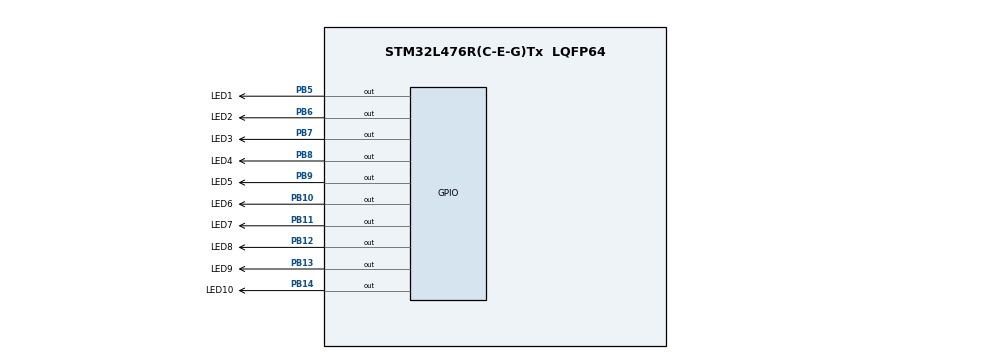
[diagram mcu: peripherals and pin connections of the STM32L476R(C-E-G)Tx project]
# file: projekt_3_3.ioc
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Mcu.Family=STM32L4
Mcu.Name=STM32L476R(C-E-G)Tx
Mcu.Package=LQFP64
NVIC.PriorityGroup=NVIC_PRIORITYGROUP_4
PB10.GPIO_Label=LED6
PB10.Signal=GPIO_Output
PB11.GPIO_Label=LED7
PB11.Signal=GPIO_Output
PB12.GPIO_Label=LED8
PB12.Signal=GPIO_Output
PB13.GPIO_Label=LED9
PB13.Signal=GPIO_Output
PB14.GPIO_Label=LED10
PB14.Signal=GPIO_Output
PB5.GPIO_Label=LED1
PB5.Signal=GPIO_Output
PB6.GPIO_Label=LED2
PB6.Signal=GPIO_Output
PB7.GPIO_Label=LED3
PB7.Signal=GPIO_Output
PB8.GPIO_Label=LED4
PB8.Signal=GPIO_Output
PB9.GPIO_Label=LED5
PB9.Signal=GPIO_Output
ProjectManager.HeapSize=0x200
ProjectManager.StackSize=0x400
ProjectManager.TargetToolchain=STM32CubeIDE
RCC.HSE_VALUE=8000000
RCC.HSI_VALUE=16000000
RCC.LSE_VALUE=32768
RCC.MSI_VALUE=4000000
RCC.VCOOutputFreq_Value=32000000
board=custom

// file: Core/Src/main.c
/* USER CODE BEGIN Header */
/**
  ******************************************************************************
  * @file           : main.c
  * @brief          : Main program body
  ******************************************************************************
  * @attention
  *
  * Copyright (c) 2025 STMicroelectronics.
  * All rights reserved.
  *
  * This software is licensed under terms that can be found in the LICENSE file
  * in the root directory of this software component.
  * If no LICENSE file comes with this software, it is provided AS-IS.
  *
  ******************************************************************************
  */
/* USER CODE END Header */
#include "main.h"

/* USER CODE BEGIN Includes */
#include <stdbool.h>
/* USER CODE END Includes */

void SystemClock_Config(void);
static void MX_GPIO_Init(void);

/* USER CODE BEGIN 0 */

/*void led_set(int led, bool turn_on)
{
	GPIO_PinState state = (turn_on) ? GPIO_PIN_SET : GPIO_PIN_RESET;

	switch (led) {
	case 0:
		HAL_GPIO_WritePin(LED1_GPIO_Port, LED1_Pin, state);
		break;
	case 1:
		HAL_GPIO_WritePin(LED2_GPIO_Port, LED2_Pin, state);
		break;
	case 2:
		HAL_GPIO_WritePin(LED3_GPIO_Port, LED3_Pin, state);
		break;
	case 3:
		HAL_GPIO_WritePin(LED4_GPIO_Port, LED4_Pin, state);
		break;
	case 4:
		HAL_GPIO_WritePin(LED5_GPIO_Port, LED5_Pin, state);
		break;
	case 5:
		HAL_GPIO_WritePin(LED6_GPIO_Port, LED6_Pin, state);
		break;
	case 6:
		HAL_GPIO_WritePin(LED7_GPIO_Port, LED7_Pin, state);
		break;
	case 7:
		HAL_GPIO_WritePin(LED8_GPIO_Port, LED8_Pin, state);
		break;
	case 8:
		HAL_GPIO_WritePin(LED9_GPIO_Port, LED9_Pin, state);
		break;
	case 9:
		HAL_GPIO_WritePin(LED10_GPIO_Port, LED10_Pin, state);
		break;
	default:
		break;
	}
} too long */

/*static GPIO_TypeDef* const LED_PORT[] = {
		LED1_GPIO_Port, LED2_GPIO_Port, LED3_GPIO_Port, LED4_GPIO_Port, LED5_GPIO_Port,
		LED6_GPIO_Port, LED7_GPIO_Port, LED8_GPIO_Port, LED9_GPIO_Port, LED10_GPIO_Port,
};

static const uint16_t LED_PIN[] = {
		LED1_Pin, LED2_Pin, LED3_Pin, LED4_Pin, LED5_Pin,
		LED6_Pin, LED7_Pin, LED8_Pin, LED9_Pin, LED10_Pin,
};

void led_set(int led, bool turn_on)
{
	GPIO_PinState state = (turn_on) ? GPIO_PIN_SET : GPIO_PIN_RESET;

	if (led >= 0 && led < 10)
		HAL_GPIO_WritePin(LED_PORT[led], LED_PIN[led], state);
}*/

typedef struct {
	GPIO_TypeDef* port;
	uint16_t pin;
}pin_t;

static const pin_t LED[] = {
		{ LED1_GPIO_Port, LED1_Pin },
		{ LED2_GPIO_Port, LED2_Pin },
		{ LED3_GPIO_Port, LED3_Pin },
		{ LED4_GPIO_Port, LED4_Pin },
		{ LED5_GPIO_Port, LED5_Pin },
		{ LED6_GPIO_Port, LED6_Pin },
		{ LED7_GPIO_Port, LED7_Pin },
		{ LED8_GPIO_Port, LED8_Pin },
		{ LED9_GPIO_Port, LED9_Pin },
		{ LED10_GPIO_Port, LED10_Pin },
};

void led_set(int led, bool turn_on)
{
	GPIO_PinState state = (turn_on) ? GPIO_PIN_SET : GPIO_PIN_RESET;

	if (led >= 0 && led < 10) {
		HAL_GPIO_WritePin(LED[led].port, LED[led].pin, state);
        }
}

/* USER CODE END 0 */

int main(void)
{

  /* MCU Configuration--------------------------------------------------------*/

  /* Reset of all peripherals, Initializes the Flash interface and the Systick. */
  HAL_Init();

  /* Configure the system clock */
  SystemClock_Config();

  /* Initialize all configured peripherals */
  MX_GPIO_Init();

  /* Infinite loop */
  /* USER CODE BEGIN WHILE */
  while (1)
  { for(int i = 0; i < 10; i++){
	  led_set(i, true);
	  HAL_Delay(100);
	  led_set(i, false);
  }
    /* USER CODE END WHILE */

  }
}

void SystemClock_Config(void)
{
  RCC_OscInitTypeDef RCC_OscInitStruct = {0};
  RCC_ClkInitTypeDef RCC_ClkInitStruct = {0};

  /** Configure the main internal regulator output voltage
  */
  if (HAL_PWREx_ControlVoltageScaling(PWR_REGULATOR_VOLTAGE_SCALE1) != HAL_OK)
  {
    Error_Handler();
  }

  /** Initializes the RCC Oscillators according to the specified parameters
  * in the RCC_OscInitTypeDef structure.
  */
  RCC_OscInitStruct.OscillatorType = RCC_OSCILLATORTYPE_MSI;
  RCC_OscInitStruct.MSIState = RCC_MSI_ON;
  RCC_OscInitStruct.MSICalibrationValue = 0;
  RCC_OscInitStruct.MSIClockRange = RCC_MSIRANGE_6;
  RCC_OscInitStruct.PLL.PLLState = RCC_PLL_NONE;
  if (HAL_RCC_OscConfig(&RCC_OscInitStruct) != HAL_OK)
  {
    Error_Handler();
  }

  /** Initializes the CPU, AHB and APB buses clocks
  */
  RCC_ClkInitStruct.ClockType = RCC_CLOCKTYPE_HCLK|RCC_CLOCKTYPE_SYSCLK
                              |RCC_CLOCKTYPE_PCLK1|RCC_CLOCKTYPE_PCLK2;
  RCC_ClkInitStruct.SYSCLKSource = RCC_SYSCLKSOURCE_MSI;
  RCC_ClkInitStruct.AHBCLKDivider = RCC_SYSCLK_DIV1;
  RCC_ClkInitStruct.APB1CLKDivider = RCC_HCLK_DIV1;
  RCC_ClkInitStruct.APB2CLKDivider = RCC_HCLK_DIV1;

  if (HAL_RCC_ClockConfig(&RCC_ClkInitStruct, FLASH_LATENCY_0) != HAL_OK)
  {
    Error_Handler();
  }
}

static void MX_GPIO_Init(void)
{
  GPIO_InitTypeDef GPIO_InitStruct = {0};

  /* GPIO Ports Clock Enable */
  __HAL_RCC_GPIOB_CLK_ENABLE();

  /*Configure GPIO pin Output Level */
  HAL_GPIO_WritePin(GPIOB, LED6_Pin|LED7_Pin|LED8_Pin|LED9_Pin
                          |LED10_Pin|LED1_Pin|LED2_Pin|LED3_Pin
                          |LED4_Pin|LED5_Pin, GPIO_PIN_RESET);

  /*Configure GPIO pins : LED6_Pin LED7_Pin LED8_Pin LED9_Pin
                           LED10_Pin LED1_Pin LED2_Pin LED3_Pin
                           LED4_Pin LED5_Pin */
  GPIO_InitStruct.Pin = LED6_Pin|LED7_Pin|LED8_Pin|LED9_Pin
                          |LED10_Pin|LED1_Pin|LED2_Pin|LED3_Pin
                          |LED4_Pin|LED5_Pin;
  GPIO_InitStruct.Mode = GPIO_MODE_OUTPUT_PP;
  GPIO_InitStruct.Pull = GPIO_NOPULL;
  GPIO_InitStruct.Speed = GPIO_SPEED_FREQ_LOW;
  HAL_GPIO_Init(GPIOB, &GPIO_InitStruct);

}

void Error_Handler(void)
{
  __disable_irq();
  while (1)
  {
  }
}
